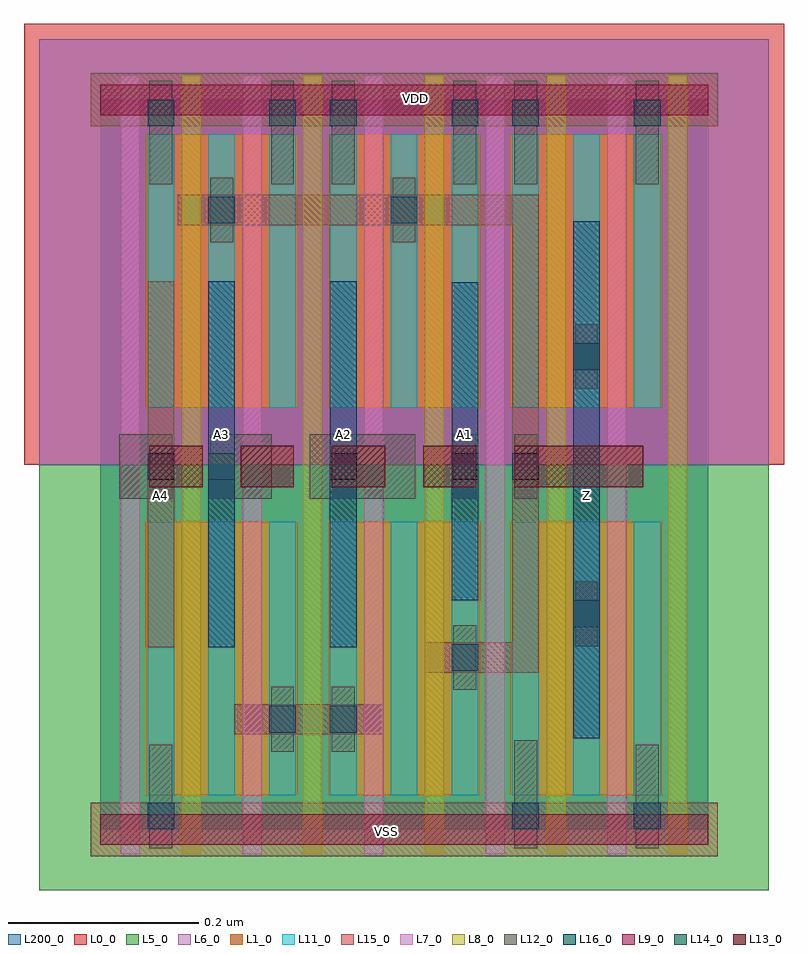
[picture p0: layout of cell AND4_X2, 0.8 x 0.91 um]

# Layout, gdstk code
import gdstk
lib = gdstk.Library(unit=1e-6, precision=1e-09)
def R(c, l, rs):  # rectangles x0, y0, x1, y1
    for r in rs: c.add(gdstk.rectangle(r[:2], r[2:], *l))
def A(c, l, x, y, w, h, nx, ny, dx, dy):  # array of equal rectangles
    R(c, l, [(x+i*dx, y+j*dy, x+i*dx+w, y+j*dy+h) for i in range(nx) for j in range(ny)])
def P(c, l, *ps):  # polygons
    for p in ps: c.add(gdstk.Polygon(p, *l))
L0_0 = (0, 0)
L1_0 = (1, 0)
L5_0 = (5, 0)
L6_0 = (6, 0)
L7_0 = (7, 0)
L8_0 = (8, 0)
L9_0 = (9, 0)
L11_0 = (11, 0)
L12_0 = (12, 0)
L13_0 = (13, 0)
L14_0 = (14, 0)
L15_0 = (15, 0)
L16_0 = (16, 0)
L200_0 = (200, 0)

and4_x2 = lib.new_cell('AND4_X2')
R(and4_x2, L0_0, [(-0.08,0.384,0.72,0.848)])
A(and4_x2, L1_0, 0.048, 0.036, 0.16, 0.288, 3, 2, 0.192, 0.408)
R(and4_x2, L5_0, [(-0.064,-0.064,0.704,0.384)])
R(and4_x2, L6_0, [(-0.064,0.384,0.704,0.832)])
A(and4_x2, L7_0, 0.022, -0.026, 0.02, 0.82, 5, 1, 0.128, 0)
A(and4_x2, L8_0, 0.086, -0.026, 0.02, 0.82, 5, 1, 0.128, 0)
R(and4_x2, L9_0, [(0,-0.016,0.64,0.016), (0,0.752,0.64,0.784)])
A(and4_x2, L11_0, 0.05, 0.036, 0.028, 0.288, 9, 2, 0.064, 0.408)
R(and4_x2, L12_0, [(0.052,-0.02,0.076,0.089), (0.436,-0.02,0.46,0.094), (0.564,-0.02,0.588,0.089), (0.18,0.082,0.204,0.15), (0.244,0.082,0.268,0.15), (0.372,0.147,0.396,0.215), (0.5,0.193,0.524,0.261), (0.02,0.348,0.076,0.416), (0.116,0.348,0.181,0.416), (0.221,0.348,0.332,0.416), (0.372,0.348,0.396,0.416), (0.436,0.348,0.46,0.416), (0.5,0.464,0.524,0.532), (0.116,0.618,0.14,0.686), (0.308,0.618,0.332,0.686), (0.052,0.679,0.076,0.788), (0.18,0.679,0.204,0.788), (0.244,0.679,0.268,0.788), (0.372,0.679,0.396,0.788), (0.436,0.679,0.46,0.788), (0.564,0.679,0.588,0.788)])
A(and4_x2, L13_0, 0.052, 0.36, 0.056, 0.044, 4, 1, 0.096, 0)
R(and4_x2, L13_0, [(0.436,0.36,0.572,0.404)])
A(and4_x2, L14_0, 0.114, 0.368, 0.028, 0.028, 3, 1, 0.128, 0)
R(and4_x2, L14_0, [(0.05,0,0.078,0.028), (0.434,0,0.462,0.028), (0.562,0,0.59,0.028), (0.178,0.102,0.206,0.13), (0.242,0.102,0.27,0.13), (0.37,0.167,0.398,0.195), (0.498,0.213,0.526,0.241), (0.05,0.368,0.078,0.396), (0.434,0.368,0.462,0.396), (0.498,0.484,0.526,0.512), (0.114,0.638,0.142,0.666), (0.306,0.638,0.334,0.666), (0.05,0.74,0.078,0.768), (0.178,0.74,0.206,0.768), (0.242,0.74,0.27,0.768), (0.37,0.74,0.398,0.768), (0.434,0.74,0.462,0.768), (0.562,0.74,0.59,0.768)])
R(and4_x2, L15_0, [(-0.01,-0.028,0.65,0.028), (0.142,0.1,0.298,0.132), (0.05,0.192,0.078,0.577), (-0.01,0.74,0.65,0.796)])
P(and4_x2, L15_0, [(0.082,0.636),(0.434,0.636),(0.434,0.197),(0.342,0.197),(0.342,0.165),(0.462,0.165),(0.462,0.668),(0.082,0.668)])
R(and4_x2, L16_0, [(0.498,0.096,0.526,0.64), (0.114,0.192,0.142,0.577), (0.242,0.192,0.27,0.577), (0.37,0.241,0.398,0.576)])
R(and4_x2, L200_0, [(0,0,0.64,0.768)])
and4_x2.add(gdstk.Label('VSS', (0.302,-0.002), layer=15, texttype=20))
and4_x2.add(gdstk.Label('A4', (0.064,0.352), layer=15, texttype=20))
and4_x2.add(gdstk.Label('VDD', (0.332,0.769), layer=15, texttype=20))
and4_x2.add(gdstk.Label('Z', (0.512,0.352), layer=16, texttype=20))
and4_x2.add(gdstk.Label('A3', (0.128,0.416), layer=16, texttype=20))
and4_x2.add(gdstk.Label('A2', (0.256,0.416), layer=16, texttype=20))
and4_x2.add(gdstk.Label('A1', (0.384,0.416), layer=16, texttype=20))

lib.write_gds('AND4_X2.gds')
